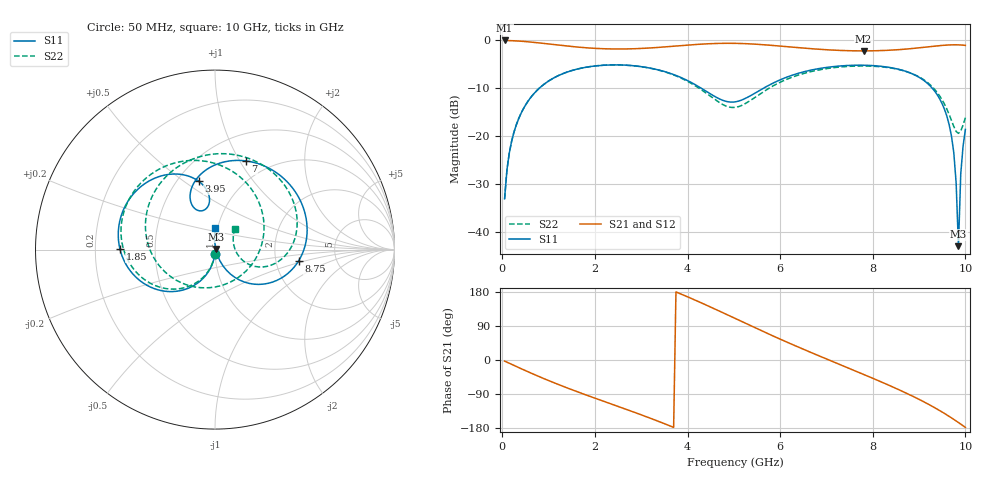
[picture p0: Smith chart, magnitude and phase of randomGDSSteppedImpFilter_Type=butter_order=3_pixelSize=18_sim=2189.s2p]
! freq	dB(S11)	phase(S11)	dB(S12)	phase(S12)
!  dB(S21)	phase(S21)	dB(S22)	phase(S22)
!S-par simulation data
#  GHz  S  DB  R 50
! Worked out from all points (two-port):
!   200 points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, 50 MHz to 10 GHz, reference 50 ohm
!   highest |S21| = -0.01 dB at 50 MHz (marker M1); lowest = -2.2 dB at 7.8 GHz (marker M2)
!   |S21| within 3 dB of the highest: start of sweep to end of sweep
!   lowest |S11| = -42.9 dB at 9.85 GHz (marker M3), VSWR 1.01, Z = 50.6 + j0.338 ohm
!   |S11| at or under -10 dB: start of sweep to 794.5 MHz; 4.304 GHz to 5.632 GHz (1.329 GHz wide, 26.7 % of centre); 9.288 GHz to end of sweep
!   |S22| runs from -33.0 to -5.1 dB; largest |S21 - S12| = 0
!   S11 on the Smith chart (normalised r, x): 50 MHz: 1.00, -0.04; 1.85 GHz: 0.31, +0.00; 3.95 GHz: 0.63, +0.57; 7 GHz: 0.78, +1.06; 8.75 GHz: 2.69, -0.44; 10 GHz: 0.98, +0.23
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0.05  -33.00 -92.8  -0.01 -2.9  -0.01 -2.9  -33.00 -93.0
0.2  -21.07 -101.4  -0.05 -11.4  -0.05 -11.4  -21.07 -102.2
0.5  -13.49 -117.6  -0.24 -28.1  -0.24 -28.1  -13.49 -119.5
1.1  -7.88 -147.6  -0.85 -59.2  -0.85 -59.2  -7.87 -152.0
1.75  -5.69 -176.2  -1.49 -89.6  -1.49 -89.6  -5.69 175.8
1.85  -5.52 179.7  -1.56 -94.1  -1.56 -94.1  -5.52 171.1
3.4  -6.21 120.9  -1.43 -163.2  -1.43 -163.2  -6.25 92.7
3.95  -8.13 103.5  -1.01 169.4  -1.01 169.4  -8.27 56.4
4.5  -11.17 96.3  -0.67 139.6  -0.67 139.6  -11.68 5.6
5.05  -12.76 110.4  -0.61 108.3  -0.61 108.3  -13.92 -74.2
5.75  -9.38 114.0  -0.97 68.7  -0.97 68.7  -10.02 -160.6
6.7  -6.12 82.8  -1.75 18.1  -1.75 18.1  -6.42 130.5
7  -5.62 70.7  -1.94 2.7  -1.94 2.7  -5.88 112.3
7.8  -5.17 36.7  -2.18 -37.9  -2.18 -37.9  -5.33 66.8
8.35  -5.61 11.8  -2.05 -66.7  -2.05 -66.7  -5.69 36.2
8.75  -6.56 -7.8  -1.78 -89.0  -1.78 -89.0  -6.57 13.9
9.6  -15.79 -57.6  -0.96 -145.0  -0.96 -145.0  -14.31 -23.4
9.75  -23.43 -66.4  -0.91 -156.8  -0.91 -156.8  -17.94 -11.3
9.8  -29.67 -66.2  -0.91 -160.8  -0.91 -160.8  -18.97 -0.7
9.85  -42.88 27.7  -0.92 -165.0  -0.92 -165.0  -19.37 13.3
9.9  -27.77 92.8  -0.95 -169.2  -0.95 -169.2  -18.86 27.6
10  -18.53 88.8  -1.04 -177.8  -1.04 -177.8  -16.10 46.0
